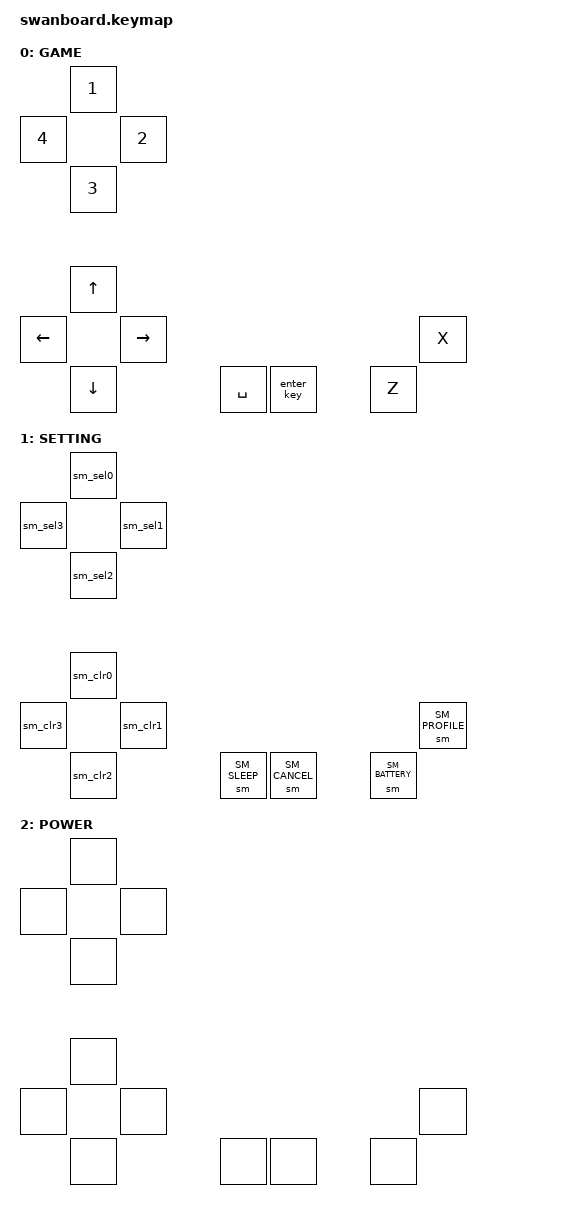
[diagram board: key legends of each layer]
// swanboard - 12 keys (SW1 top .. SW12 bottom), direct GPIO, "setup mode".
// The same keymap is used by every hardware variant (LEDs / nice!view). What the
// setup-mode keys show depends on the variant (see src/setup_mode.c):
//   LEDs      : the 4 profile LEDs show everything
//   nice!view : the display shows the profile, battery and the layer name
//
// Normal layer (0, "GAME"):
//   SW1..SW4 = 1 2 3 4, SW5..SW8 = UP RIGHT DOWN LEFT,
//   SW9 = ENTER (down on press, up on release, like any key); released after
//         more than 1000 ms = also enter setup mode,
//   SW10 = SPACE,
//   SW11 = Z, SW12 = X
//
// Setup layer (1, "SETTING"):
//   SW1..SW4  click -> BT_SEL 0..3, leave setup mode (LEDs: LED of that profile 500 ms)
//   SW5..SW8  click -> BT_CLR for profile 0..3 (selects it, clears it), leave setup mode
//   SW9       click -> nothing, leave setup mode
//   SW10      click -> sleep (animation / "POWER" on the display, then deep sleep or soft off,
//                       see .conf, once no key is held)
//   SW11      LEDs: hold = battery level on the LEDs, release = leave setup mode
//             nice!view: click = leave setup mode
//   SW12      LEDs: hold = current BT profile on the LED, release = leave setup mode
//             nice!view: click = leave setup mode
//
// Sleep layer (2, "POWER"): everything disabled while waiting for the sleep.

#include <behaviors.dtsi>
#include <dt-bindings/zmk/keys.h>
#include <dt-bindings/zmk/bt.h>

// &sm parameters (keep in sync with src/setup_mode.c)
#define SM_ENTER_DOWN 7   // SW9 pressed: remember the time
#define SM_ENTER_UP   8   // SW9 released: held > 1000 ms -> enter setup mode
#define SM_EXIT       2   // leave setup mode now
#define SM_CANCEL     3   // leave setup mode on release
#define SM_BATTERY    4   // LEDs: hold = battery level; otherwise: leave setup mode on release
#define SM_PROFILE    5   // LEDs: hold = BT profile;    otherwise: leave setup mode on release
#define SM_SLEEP      6   // on release: start sleep sequence
#define SM_SELECTED_0 10  // after BT_SEL 0: leave setup mode (LEDs: LED_0 on for 500 ms)
#define SM_SELECTED_1 11  // ... profile 1
#define SM_SELECTED_2 12  // ... profile 2
#define SM_SELECTED_3 13  // ... profile 3

/ {
    macros {
        // SW9 = ENTER that behaves like a normal key: key down when the switch is pressed,
        // key up when it is released. In addition &sm remembers the press time; when the
        // switch is released after more than 1000 ms, setup mode is entered (src/setup_mode.c).
        // (&macro_pause_for_release keeps the macro waiting for the physical release.)
        enter_key: enter_key {
            compatible = "zmk,behavior-macro";
            #binding-cells = <0>;
            wait-ms = <0>;
            tap-ms = <0>;
            bindings = <&macro_press &kp ENTER &sm SM_ENTER_DOWN>,
                       <&macro_pause_for_release>,
                       <&macro_release &kp ENTER &sm SM_ENTER_UP>;
        };

        sm_sel0: sm_sel0 {
            compatible = "zmk,behavior-macro";
            #binding-cells = <0>;
            wait-ms = <20>;
            tap-ms = <10>;
            bindings = <&macro_tap>, <&bt BT_SEL 0>, <&sm SM_SELECTED_0>;
        };
        sm_sel1: sm_sel1 {
            compatible = "zmk,behavior-macro";
            #binding-cells = <0>;
            wait-ms = <20>;
            tap-ms = <10>;
            bindings = <&macro_tap>, <&bt BT_SEL 1>, <&sm SM_SELECTED_1>;
        };
        sm_sel2: sm_sel2 {
            compatible = "zmk,behavior-macro";
            #binding-cells = <0>;
            wait-ms = <20>;
            tap-ms = <10>;
            bindings = <&macro_tap>, <&bt BT_SEL 2>, <&sm SM_SELECTED_2>;
        };
        sm_sel3: sm_sel3 {
            compatible = "zmk,behavior-macro";
            #binding-cells = <0>;
            wait-ms = <20>;
            tap-ms = <10>;
            bindings = <&macro_tap>, <&bt BT_SEL 3>, <&sm SM_SELECTED_3>;
        };

        // BT_CLR only clears the *current* profile, so select it first.
        sm_clr0: sm_clr0 {
            compatible = "zmk,behavior-macro";
            #binding-cells = <0>;
            wait-ms = <50>;
            tap-ms = <10>;
            bindings = <&macro_tap>, <&bt BT_SEL 0>, <&bt BT_CLR>, <&sm SM_EXIT>;
        };
        sm_clr1: sm_clr1 {
            compatible = "zmk,behavior-macro";
            #binding-cells = <0>;
            wait-ms = <50>;
            tap-ms = <10>;
            bindings = <&macro_tap>, <&bt BT_SEL 1>, <&bt BT_CLR>, <&sm SM_EXIT>;
        };
        sm_clr2: sm_clr2 {
            compatible = "zmk,behavior-macro";
            #binding-cells = <0>;
            wait-ms = <50>;
            tap-ms = <10>;
            bindings = <&macro_tap>, <&bt BT_SEL 2>, <&bt BT_CLR>, <&sm SM_EXIT>;
        };
        sm_clr3: sm_clr3 {
            compatible = "zmk,behavior-macro";
            #binding-cells = <0>;
            wait-ms = <50>;
            tap-ms = <10>;
            bindings = <&macro_tap>, <&bt BT_SEL 3>, <&bt BT_CLR>, <&sm SM_EXIT>;
        };
    };

    keymap {
        compatible = "zmk,keymap";

        default_layer {
            display-name = "GAME";
            bindings = <
                &kp N1
                &kp N2
                &kp N3
                &kp N4
                &kp UP
                &kp RIGHT
                &kp DOWN
                &kp LEFT
                &enter_key
                &kp SPACE
                &kp Z
                &kp X
            >;
        };

        setup_layer {
            display-name = "SETTING";
            bindings = <
                &sm_sel0
                &sm_sel1
                &sm_sel2
                &sm_sel3
                &sm_clr0
                &sm_clr1
                &sm_clr2
                &sm_clr3
                &sm SM_CANCEL
                &sm SM_SLEEP
                &sm SM_BATTERY
                &sm SM_PROFILE
            >;
        };

        sleep_layer {
            display-name = "POWER";
            bindings = <
                &none &none &none &none
                &none &none &none &none
                &none &none &none &none
            >;
        };
    };
};
